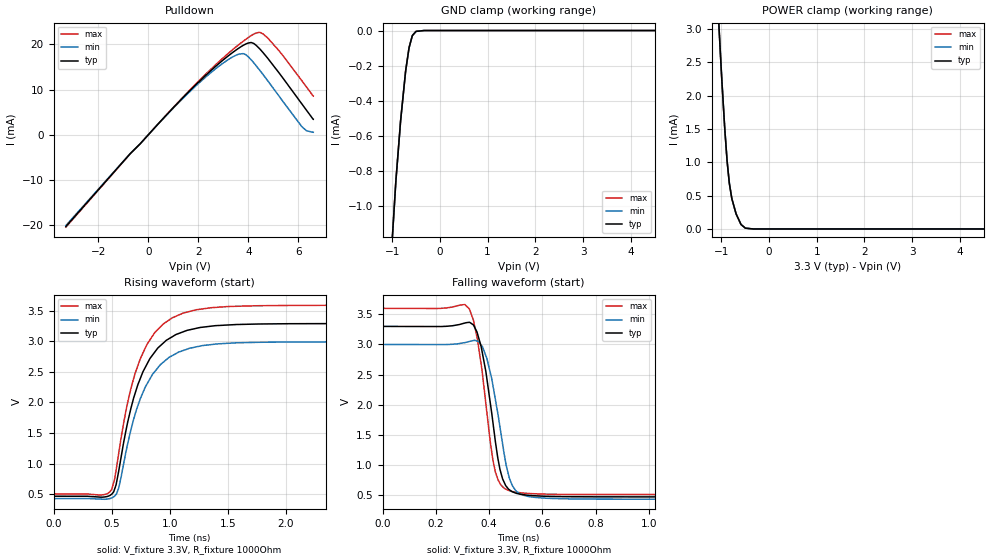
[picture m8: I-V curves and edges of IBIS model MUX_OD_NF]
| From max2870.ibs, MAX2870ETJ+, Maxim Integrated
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|   MUX_OD Model
[Model]   MUX_OD_NF
Model_type   Open_drain
Polarity   Non-Inverting
Vmeas = 1.65
Vref = 3.3
Cref = 10pF
Rref = 10000
|   typ   min   max
|C_comp values with magnitude order
C_comp   1.621e-14   1.621e-14   1.621e-14
|C_comp values with real corner order
|C_comp   1.621e-14   1.621e-14   1.621e-14
|C_comp (ON state)   1.621e-14   1.621e-14   1.621e-14
|C_comp (OFF state)   1.622e-14   1.621e-14   1.622e-14
[Voltage Range]   3.3   3   3.6
[Temperature Range]   27   110   -40
[Pullup Reference]   3.3   3   3.6
[Pulldown Reference]   0   0   0
[Power Clamp Reference]   3.3   3   3.6
[GND Clamp Reference]   0   0   0
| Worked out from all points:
|   slope of the pulldown table from 0 to 0.495 V, typ, clamps not added: 165 ohm
|   GND clamp passes 1 mA (typ) near -0.95 V on its own axis
|   POWER clamp passes 1 mA (typ) near -0.87 V on its own axis
|   falling waveform, V_fixture 3.3V, R_fixture 1000Ohm: 20-80 % time 56.1ps typ, 59.7ps min, 53.1ps max; typ from 3.3 V to 0.466 V
|   rising waveform, V_fixture 3.3V, R_fixture 1000Ohm: 20-80 % time 261ps typ, 266ps min, 258ps max; typ from 0.466 V to 3.3 V
[Pulldown]
|   Voltage   I(typ)   I(min)   I(max)
-3.3V     -20.26mA   -20.05mA   -20.41mA
-723mV    -4.15mA    -4.105mA   -4.183mA
1.251V    7.457mA    7.326mA    7.553mA
2.559V    14.48mA    14.01mA    14.81mA
3.516V    18.77mA    17.62mA    19.48mA
3.792V    19.78mA    17.95mA    20.68mA
4.116V    20.4mA     16.57mA    21.95mA
4.447V    19.06mA    14.34mA    22.66mA
4.58V     18.23mA    13.39mA    22.33mA
5.227V    13.71mA    8.58mA     18.6mA
6.138V    6.868mA    1.831mA    12mA
6.6V      3.423mA    558.5uA    8.545mA
[GND Clamp]
|   Voltage   I(typ)   I(min)   I(max)
-3.3V     -17.18mA   -17.18mA   -17.18mA
-1.005V   -1.225mA   -1.227mA   -1.224mA
-924mV    -870uA     -871.2uA   -868.8uA
-823.2mV  -518.9uA   -519.8uA   -517.9uA
-715.2mV  -228.2uA   -228.9uA   -227.5uA
-643.5mV  -96.29uA   -96.73uA   -95.88uA
-578.4mV  -30.9uA    -31.09uA   -30.7uA
-498mV    -4.841uA   -4.876uA   -4.807uA
-312mV    -20.63nA   -20.8nA    -20.4nA
6.6V      0A         0A         0A
[POWER Clamp]
|   Voltage   I(typ)   I(min)   I(max)
-3.3V     37.76mA    37.77mA    37.76mA
-1.082V   3.525mA    3.53mA     3.521mA
-990mV    2.286mA    2.29mA     2.282mA
-927.3mV  1.535mA    1.538mA    1.531mA
-877.8mV  1.042mA    1.045mA    1.039mA
-826.8mV  677.3uA    679uA      675.5uA
-774mV    448.9uA    449.9uA    447.9uA
-686.4mV  224.6uA    225.3uA    224uA
-585.6mV  69.49uA    69.79uA    69.16uA
-492mV    11.8uA     11.87uA    11.71uA
-297.6mV  48.29nA    48.77nA    47.76nA
6.6V      0A         0A         0A
[Ramp]
R_load = 1000
|   typ   min   max
dV/dt_r 1.7002E+00/2.6117E-10   1.5431E+00/2.6582E-10   1.8569E+00/2.5837E-10
dV/dt_f 1.7002E+00/5.6134E-11   1.5432E+00/5.9726E-11   1.8570E+00/5.3136E-11
[Falling Waveform]
V_fixture = 3.3V
V_fixture_min = 3V
V_fixture_max = 3.6V
R_fixture = 1000Ohm
|   Time   V(typ)   V(min)   V(max)
0s        3.3V       3V         3.6V
326.1ps   3.368V     3.05V      3.59V
356.2ps   3.182V     3.054V     3.09V
370.3ps   2.965V     2.991V     2.669V
414.9ps   1.687V     2.309V     1.065V
434.2ps   1.082V     1.82V      745.4mV
464.5ps   644.1mV    985.1mV    593.5mV
486.6ps   554.2mV    660mV      558.6mV
559.4ps   490.9mV    467mV      522.4mV
15ns      466.3mV    428.1mV    505mV
[Rising Waveform]
V_fixture = 3.3V
V_fixture_min = 3V
V_fixture_max = 3.6V
R_fixture = 1000Ohm
|   Time   V(typ)   V(min)   V(max)
0s        466.3mV    428.1mV    505mV
483.8ps   477.4mV    427.4mV    534.8mV
525.5ps   581.1mV    467mV      744.4mV
560.4ps   870.7mV    597.2mV    1.165V
665.4ps   1.898V     1.548V     2.223V
725.3ps   2.287V     1.943V     2.598V
805.6ps   2.63V      2.304V     2.953V
993.3ps   3.04V      2.734V     3.345V
1.353ns   3.245V     2.944V     3.547V
15ns      3.3V       3V         3.6V
